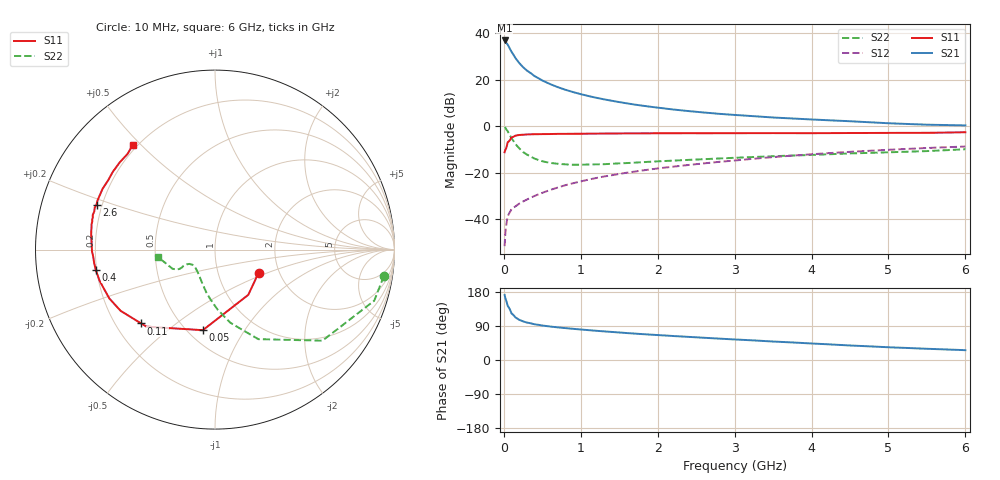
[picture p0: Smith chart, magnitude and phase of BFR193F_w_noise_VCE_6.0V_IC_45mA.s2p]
! Infineon Technologies  Discrete & RF Semiconductors
! BFR193F
! VCE =  6.0 V,  IC =  45 mA
! Common Emitter S-Parameters:  Jan 2017
# GHz  S  MA  R  50
!  f  S11  S21  S12  S22
! GHz  MAG  ANG  MAG  ANG  MAG  ANG  MAG  ANG
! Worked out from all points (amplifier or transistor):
!   77 points, 10 MHz to 6 GHz, reference 50 ohm
!   highest |S21| = 37.0 dB at 10 MHz (marker M1)
!   |S21| within 3 dB of that: start of sweep to 69.79 MHz
!   unconditionally stable (mu >= 1): 910.6 MHz to 2.637 GHz
!   at 130 MHz: K = 0.46, MSG = 32.8 dB, |S12| = -35.0 dB
!   at 2.2 GHz: K = 1.02, MAG = 11.6 dB, |S12| = -17.4 dB
!   at 6 GHz: K = 0.86, MSG = 4.5 dB, |S12| = -8.7 dB
!   lowest NFmin = 1.41 dB at 450 MHz
!   S11 on the Smith chart (normalised r, x): 10 MHz: 1.56, -0.44; 50 MHz: 0.59, -0.67; 110 MHz: 0.31, -0.38; 400 MHz: 0.20, -0.08; 2.6 GHz: 0.18, +0.18; 6 GHz: 0.18, +0.47
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0.01  0.2751 -28.2  70.78 171.6  0.0026 83.3  0.9524 -8.9
0.02  0.3129 -53.6  68.19 163.2  0.0051 78.4  0.9317 -17.8
0.05  0.4541 -98.6  57.64 143.1  0.0115 62.4  0.7847 -40.3
0.1  0.5747 -131.7  40.32 122.9  0.0163 53.4  0.5541 -64.2
0.11  0.5816 -135.0  38.1 121.3  0.0168 53.2  0.5242 -66.4
0.15  0.6268 -147.0  29.64 112.5  0.0187 52.3  0.4154 -78.3
0.2  0.6487 -155.2  23.11 106.1  0.0215 52.4  0.3347 -87.5
0.25  0.6572 -161.2  18.8 101.9  0.0239 54.4  0.2786 -95.2
0.3  0.6663 -165.0  15.88 98.8  0.0264 56.6  0.2454 -101.1
0.4  0.6742 -170.5  12.05 94.2  0.0315 61.2  0.2001 -110.9
0.5  0.6776 -173.9  9.704 91.0  0.0367 63.8  0.176 -118.6
0.6  0.6799 -176.8  8.131 88.4  0.0423 66.1  0.1624 -124.9
0.7  0.6854 -179.2  6.983 86.1  0.0477 68.1  0.1554 -129.7
0.9  0.6883 177.3  5.461 82.3  0.0591 70.6  0.148 -137.7
1.1  0.6929 174.3  4.486 78.8  0.0708 71.7  0.1499 -142.7
1.5  0.6996 169.4  3.322 72.6  0.0937 72.9  0.1587 -149.1
2.1  0.7067 163.4  2.409 64.6  0.1288 72.9  0.1784 -152.4
2.6  0.7061 159.2  1.98 58.7  0.1583 72.2  0.1949 -152.1
3.1  0.7098 155.0  1.712 53.2  0.1893 71.2  0.2123 -151.5
4.1  0.7103 146.2  1.377 42.6  0.2555 67.2  0.2446 -153.3
5.1  0.7198 136.5  1.145 32.8  0.3167 61.7  0.2779 -162.4
6  0.7426 128.0  1.044 25.9  0.3663 56.5  0.3194 -172.1
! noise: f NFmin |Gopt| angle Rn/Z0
0.45  1.41  0.45  180  0.07
0.9  1.49  0.46  -179  0.07
1.9  2.06  0.59  -164  0.09
2.4  2.37  0.61  -156  0.14
